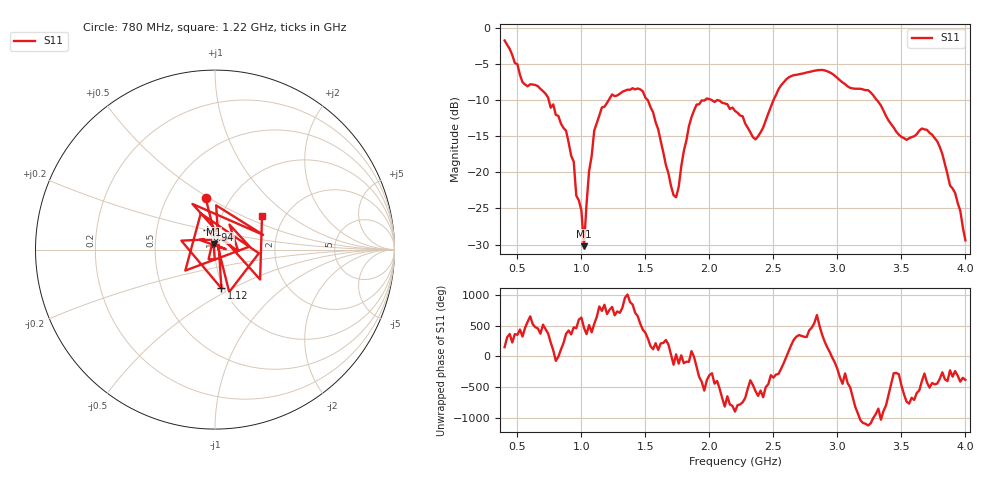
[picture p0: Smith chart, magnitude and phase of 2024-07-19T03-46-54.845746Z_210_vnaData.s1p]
!Created with skrf (http://scikit-rf.org).
# Hz S RI R 50.0
!freq ReS11 ImS11
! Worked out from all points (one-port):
!   181 points, 400 MHz to 4 GHz, reference 50 ohm
!   lowest |S11| = -30.2 dB at 1.02 GHz (marker M1), VSWR 1.06, Z = 49.1 + j2.93 ohm
!   |S11| at or under -10 dB: 744.6 MHz to 1.214 GHz (469.1 MHz wide, 47.9 % of centre); 2.015 GHz to 2.501 GHz (486.5 MHz wide, 21.5 % of centre); 3.307 GHz to end of sweep (the widest 3 of 4)
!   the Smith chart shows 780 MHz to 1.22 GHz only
!   S11 on the Smith chart (normalised r, x): 780 MHz: 0.77, +0.49; 940 MHz: 0.90, +0.20; 1.12 GHz: 0.98, -0.44; 1.22 GHz: 1.54, +0.65
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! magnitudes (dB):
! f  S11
! 400 MHz  -1.8
! 540 MHz  -7.5
! 780 MHz  -10.6
! 860 MHz  -13.9
! 940 MHz  -18.5
! 960 MHz  -23.2
! 1 GHz  -25.3
! 1.02 GHz  -30.2
! 1.06 GHz  -19.9
! 1.12 GHz  -13.2
! 1.22 GHz  -9.8
! 1.3 GHz  -9.2
! 1.48 GHz  -8.8
! 1.6 GHz  -14.1
! 1.72 GHz  -23.2
! 1.76 GHz  -22.0
! 1.84 GHz  -13.6
! 1.9 GHz  -10.7
! 2.2 GHz  -11.5
! 2.36 GHz  -15.5
! 2.66 GHz  -6.6
! 2.9 GHz  -5.9
! 3.1 GHz  -8.3
! 3.24 GHz  -8.7
! 3.56 GHz  -15.3
! 3.78 GHz  -15.7
! 3.96 GHz  -25.3
! 4 GHz  -29.4
